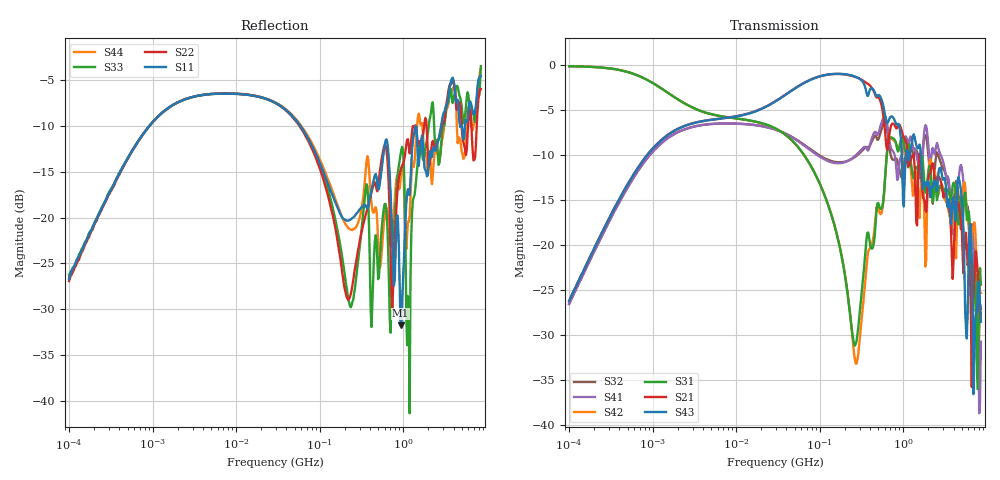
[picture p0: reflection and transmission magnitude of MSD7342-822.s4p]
# MHz S MA R 50
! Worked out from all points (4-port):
!   498 points, 100 kHz to 8.5 GHz, reference 50 ohm
!   strongest paths, dB at 100 kHz, 1.698 MHz, 29.49 MHz, 500.7 MHz, 8.5 GHz:
!     S43: -26.2, -7.4, -4.0, -3.3, -28.5
!     S21: -26.2, -7.4, -4.0, -3.5, -27.5
!     S31: -0.1, -3.3, -7.0, -15.3, -24.4
!     S42: -0.1, -3.3, -7.0, -15.8, -25.3
!     S41: -26.6, -7.8, -7.1, -7.6, -30.7
!     S32: -26.5, -7.8, -7.1, -8.3, -27.1
!   lowest |S11| = -31.8 dB at 927.6 MHz (marker M1), VSWR 1.05, Z = 49 - j2.36 ohm
!   |S11| at or under -10 dB: 58.86 MHz to 2.834 GHz (2.775 GHz wide, 192 % of centre); 4.788 GHz to 4.961 GHz (173 MHz wide, 3.55 % of centre); 5.038 GHz to 5.483 GHz (445.8 MHz wide, 8.47 % of centre)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
0.1  0.04624 84.1  0.04888 83.8  0.9903 -2.8  0.04694 -96.5
     0.04888 83.8  0.04505 85.1  0.04713 -96.2  0.9914 -2.8
     0.9903 -2.8  0.04713 -96.2  0.04894 85.3  0.04884 83.7
     0.04694 -96.5  0.9914 -2.8  0.04884 83.7  0.04676 84.2
8.208072  0.4765 -1.5  0.5138 12.7  0.5143 -16.8  0.4755 176.5
          0.5138 12.7  0.477 -2.3  0.4758 175.7  0.5131 -16.9
          0.5143 -16.8  0.4758 175.7  0.4758 -2.4  0.5132 12.7
          0.4755 176.5  0.5131 -16.9  0.5132 12.7  0.4775 -1.6
270.2392  0.1041 -37.2  0.8612 -57.0  0.02822 136.4  0.3162 33.1
          0.8612 -57.0  0.05586 -0.6  0.3117 23.1  0.02191 149.7
          0.02822 136.4  0.3117 23.1  0.04504 -12.4  0.8649 -56.7
          0.3162 33.1  0.02191 149.7  0.8649 -56.7  0.08851 -42.2
927.5539  0.02585 -111.5  0.4549 -169.0  0.3782 -100.8  0.3075 -104.8
          0.4549 -169.0  0.1811 -47.4  0.2489 -125.0  0.3626 -110.8
          0.3782 -100.8  0.2489 -125.0  0.2209 -80.5  0.4106 172.1
          0.3075 -104.8  0.3626 -110.8  0.4106 172.1  0.1602 -88.2
1139.211  0.1431 -91.3  0.3076 152.0  0.3655 -151.2  0.3685 -148.3
          0.3076 152.0  0.2683 -103.8  0.2713 -147.4  0.3401 -162.0
          0.3655 -151.2  0.2713 -147.4  0.03727 -91.6  0.3175 177.5
          0.3685 -148.3  0.3401 -162.0  0.3175 177.5  0.0949 -43.1
4383.155  0.426 160.9  0.1765 136.5  0.1622 92.9  0.2248 127.5
          0.1765 136.5  0.3874 157.6  0.2237 96.7  0.1236 128.7
          0.1622 92.9  0.2237 96.7  0.5248 175.9  0.1885 137.4
          0.2248 127.5  0.1236 128.7  0.1885 137.4  0.3142 143.3
8500  0.5928 -57.2  0.04214 24.9  0.06024 -44.1  0.02902 -17.4
      0.04214 24.9  0.5032 -56.5  0.044 -71.4  0.05414 -80.7
      0.06024 -44.1  0.044 -71.4  0.6724 -40.2  0.03742 22.8
      0.02902 -17.4  0.05414 -80.7  0.03742 22.8  0.6558 -58.4
